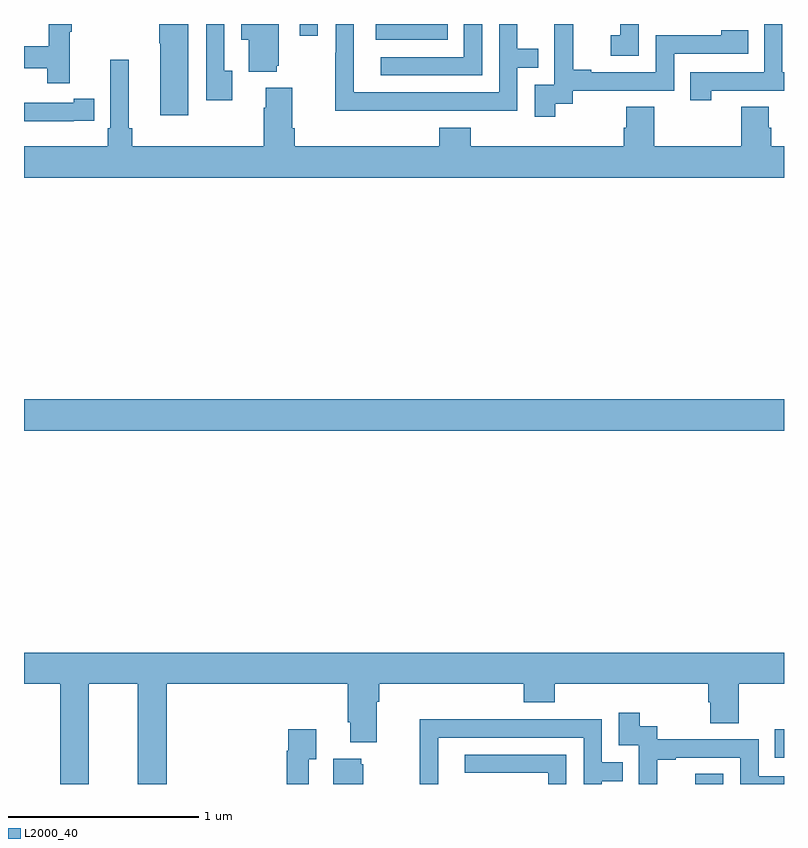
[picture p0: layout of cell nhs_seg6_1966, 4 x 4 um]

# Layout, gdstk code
import gdstk
lib = gdstk.Library(unit=1e-6, precision=1e-09)
def R(c, l, rs):  # rectangles x0, y0, x1, y1
    for r in rs: c.add(gdstk.rectangle(r[:2], r[2:], *l))
def P(c, l, *ps):  # polygons
    for p in ps: c.add(gdstk.Polygon(p, *l))
L2000_40 = (2000, 40)

nhs_seg6_1966 = lib.new_cell('nhs_seg6_1966')
R(nhs_seg6_1966, L2000_40, [(232.533,921.5,232.68,921.553), (232.951,921.639,233,921.787), (229,923.36,233,923.524), (230.852,925.418,231.23,925.5), (230.451,925.437,230.547,925.5)])
P(nhs_seg6_1966, L2000_40, [(229.864,925.5),(229.711,925.5),(229.711,925.399),(229.718,925.399),(229.718,925.02),(229.864,925.02)],
  [(230.33,925.281),(230.341,925.281),(230.341,925.5),(230.144,925.5),(230.144,925.418),(230.183,925.418),(230.183,925.25),(230.33,925.25)],
  [(230.095,925.254),(230.055,925.254),(230.055,925.5),(229.959,925.5),(229.959,925.098),(230.095,925.098)],
  [(232.236,925.5),(232.138,925.5),(232.138,925.441),(232.089,925.441),(232.089,925.332),(232.236,925.332)],
  [(231.101,925.044),(231.597,925.044),(231.597,925.269),(231.707,925.269),(231.707,925.37),(231.597,925.37),(231.597,925.5),(231.501,925.5),(231.501,925.14),(230.736,925.14),(230.736,925.5),(230.64,925.5),(230.64,925.349),(230.638,925.349),(230.638,925.043),(231.101,925.043)],
  [(229.241,925.459),(229.252,925.459),(229.252,925.5),(229.131,925.5),(229.131,925.382),(229,925.382),(229,925.266),(229.123,925.266),(229.123,925.188),(229.241,925.188)],
  [(231.411,925.5),(231.315,925.5),(231.315,925.326),(230.877,925.326),(230.877,925.23),(231.411,925.23)],
  [(232.618,925.149),(233,925.149),(233,925.245),(232.992,925.245),(232.992,925.5),(232.896,925.5),(232.896,925.245),(232.507,925.245),(232.507,925.098),(232.618,925.098)],
  [(231.796,925.081),(231.888,925.081),(231.888,925.149),(232.422,925.149),(232.422,925.344),(232.811,925.344),(232.811,925.467),(232.671,925.467),(232.671,925.44),(232.326,925.44),(232.326,925.245),(231.985,925.245),(231.985,925.258),(231.89,925.258),(231.89,925.5),(231.791,925.5),(231.791,925.409),(231.792,925.409),(231.792,925.179),(231.687,925.179),(231.687,925.011),(231.796,925.011)],
  [(233,924.856),(232.934,924.856),(232.934,924.954),(232.921,924.954),(232.921,925.064),(232.774,925.064),(232.774,924.856),(232.317,924.856),(232.317,925.064),(232.169,925.064),(232.169,924.954),(232.157,924.954),(232.157,924.856),(231.35,924.856),(231.35,924.955),(231.185,924.955),(231.185,924.856),(230.426,924.856),(230.426,924.952),(230.413,924.952),(230.413,925.165),(230.273,925.165),(230.273,925.058),(230.261,925.058),(230.261,924.856),(229.571,924.856),(229.571,924.952),(229.552,924.952),(229.552,925.312),(229.455,925.312),(229.455,924.952),(229.442,924.952),(229.442,924.856),(229,924.856),(229,924.692),(233,924.692)],
  [(229.262,924.99),(229.37,924.99),(229.37,925.106),(229.262,925.106),(229.262,925.086),(229,925.086),(229,924.989),(229.262,924.989)],
  [(229,922.028),(229.19,922.028),(229.19,921.5),(229.342,921.5),(229.342,922.028),(229.598,922.028),(229.598,921.5),(229.751,921.5),(229.751,922.028),(230.705,922.028),(230.705,921.826),(230.717,921.826),(230.717,921.719),(230.857,921.719),(230.857,921.932),(230.87,921.932),(230.87,922.028),(231.629,922.028),(231.629,921.929),(231.794,921.929),(231.794,922.028),(232.601,922.028),(232.601,921.93),(232.613,921.93),(232.613,921.82),(232.761,921.82),(232.761,922.028),(233,922.028),(233,922.192),(229,922.192)],
  [(232.334,921.627),(232.429,921.627),(232.429,921.639),(232.77,921.639),(232.77,921.5),(233,921.5),(233,921.54),(232.866,921.54),(232.866,921.735),(232.332,921.735),(232.332,921.804),(232.24,921.804),(232.24,921.874),(232.131,921.874),(232.131,921.705),(232.236,921.705),(232.236,921.5),(232.334,921.5)],
  [(231.18,921.744),(231.945,921.744),(231.945,921.5),(232.041,921.5),(232.041,921.514),(232.151,921.514),(232.151,921.615),(232.041,921.615),(232.041,921.84),(231.545,921.84),(231.545,921.842),(231.082,921.842),(231.082,921.535),(231.084,921.535),(231.084,921.5),(231.18,921.5)],
  [(230.499,921.631),(230.539,921.631),(230.539,921.787),(230.391,921.787),(230.391,921.674),(230.383,921.674),(230.383,921.5),(230.499,921.5)],
  [(231.855,921.654),(231.321,921.654),(231.321,921.558),(231.759,921.558),(231.759,921.5),(231.855,921.5)],
  [(230.785,921.603),(230.774,921.603),(230.774,921.634),(230.627,921.634),(230.627,921.5),(230.785,921.5)])

lib.write_gds('nhs_seg6_1966.gds')
